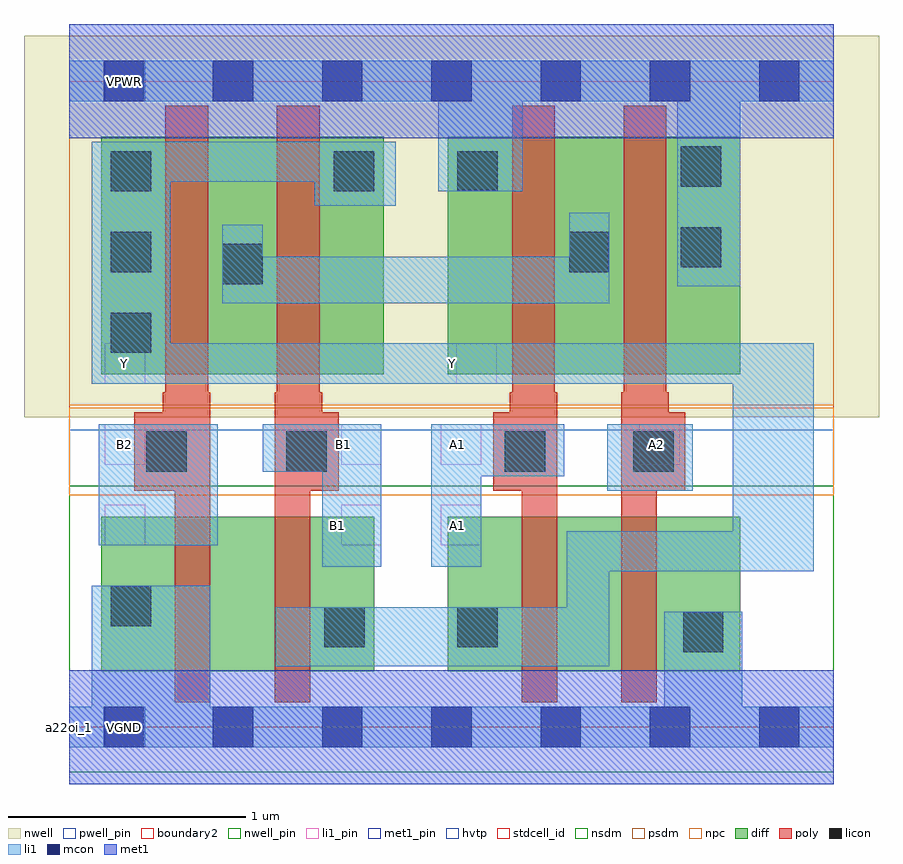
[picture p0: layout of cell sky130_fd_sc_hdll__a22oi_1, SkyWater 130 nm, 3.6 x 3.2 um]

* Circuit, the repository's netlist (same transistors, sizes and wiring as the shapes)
* Copyright 2020 The SkyWater PDK Authors
*
* Licensed under the Apache License, Version 2.0 (the "License");
* you may not use this file except in compliance with the License.
* You may obtain a copy of the License at
*
*     https://www.apache.org/licenses/LICENSE-2.0
*
* Unless required by applicable law or agreed to in writing, software
* distributed under the License is distributed on an "AS IS" BASIS,
* WITHOUT WARRANTIES OR CONDITIONS OF ANY KIND, either express or implied.
* See the License for the specific language governing permissions and
* limitations under the License.
*
* SPDX-License-Identifier: Apache-2.0

.SUBCKT sky130_fd_sc_hdll__a22oi_1 A1 A2 B1 B2 VGND VNB VPB VPWR Y
*.PININFO A1:I A2:I B1:I B2:I VGND:I VNB:I VPB:I VPWR:I Y:O
MMPA0 pndA A1 VPWR VPB sky130_fd_pr__pfet_01v8_hvt m=1 w=1.0U l=0.18U mult=1 sa=0.265
+ sb=0.265 sd=0.28 area=0.063 perim=1.14
MMPA1 pndA A2 VPWR VPB sky130_fd_pr__pfet_01v8_hvt m=1 w=1.0U l=0.18U mult=1 sa=0.265
+ sb=0.265 sd=0.28 area=0.063 perim=1.14
MMPB0 Y B1 pndA VPB sky130_fd_pr__pfet_01v8_hvt m=1 w=1.0U l=0.18U mult=1 sa=0.265
+ sb=0.265 sd=0.28 area=0.063 perim=1.14
MMPB1 Y B2 pndA VPB sky130_fd_pr__pfet_01v8_hvt m=1 w=1.0U l=0.18U mult=1 sa=0.265
+ sb=0.265 sd=0.28 area=0.063 perim=1.14
MMNA0 Y A1 sndA1 VNB sky130_fd_pr__nfet_01v8 m=1 w=0.65U l=0.15U mult=1 sa=0.265
+ sb=0.265 sd=0.28 area=0.063 perim=1.14
MMNA1 sndA1 A2 VGND VNB sky130_fd_pr__nfet_01v8 m=1 w=0.65U l=0.15U mult=1 sa=0.265
+ sb=0.265 sd=0.28 area=0.063 perim=1.14
MMNB0 Y B1 sndB1 VNB sky130_fd_pr__nfet_01v8 m=1 w=0.65U l=0.15U mult=1 sa=0.265
+ sb=0.265 sd=0.28 area=0.063 perim=1.14
MMNB1 sndB1 B2 VGND VNB sky130_fd_pr__nfet_01v8 m=1 w=0.65U l=0.15U mult=1 sa=0.265
+ sb=0.265 sd=0.28 area=0.063 perim=1.14
.ENDS sky130_fd_sc_hdll__a22oi_1

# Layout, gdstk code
import gdstk
lib = gdstk.Library(unit=1e-6, precision=1e-09)
def R(c, l, rs):  # rectangles x0, y0, x1, y1
    for r in rs: c.add(gdstk.rectangle(r[:2], r[2:], *l))
def A(c, l, x, y, w, h, nx, ny, dx, dy):  # array of equal rectangles
    R(c, l, [(x+i*dx, y+j*dy, x+i*dx+w, y+j*dy+h) for i in range(nx) for j in range(ny)])
def P(c, l, *ps):  # polygons
    for p in ps: c.add(gdstk.Polygon(p, *l))
nwell_pin = (64, 16)
nwell = (64, 20)
diff = (65, 20)
poly = (66, 20)
licon = (66, 44)
li1_pin = (67, 16)
li1 = (67, 20)
mcon = (67, 44)
met1_pin = (68, 16)
met1 = (68, 20)
hvtp = (78, 44)
stdcell_id = (81, 4)
nsdm = (93, 44)
psdm = (94, 20)
npc = (95, 20)
pwell_pin = (122, 16)
boundary2 = (236, 0)

sky130_fd_sc_hdll__a22oi = lib.new_cell('sky130_fd_sc_hdll__a22oi_1')
R(sky130_fd_sc_hdll__a22oi, nwell_pin, [(0.15,2.635,0.32,2.805)])
R(sky130_fd_sc_hdll__a22oi, nwell, [(-0.19,1.305,3.41,2.91)])
R(sky130_fd_sc_hdll__a22oi, diff, [(0.135,0.235,1.285,0.885), (1.595,0.235,2.825,0.885), (0.135,1.485,1.325,2.485), (1.595,1.485,2.825,2.485)])
P(sky130_fd_sc_hdll__a22oi, poly, [(0.595,1.41),(0.585,1.41),(0.585,2.615),(0.405,2.615),(0.405,1.41),(0.395,1.41),(0.395,1.325),(0.275,1.325),(0.275,0.995),(0.445,0.995),(0.445,0.105),(0.595,0.105)],
  [(1.135,1.325),(1.065,1.325),(1.065,1.41),(1.055,1.41),(1.055,2.615),(0.875,2.615),(0.875,1.41),(0.865,1.41),(0.865,0.105),(1.015,0.105),(1.015,0.995),(1.135,0.995)],
  [(2.055,1.41),(2.045,1.41),(2.045,2.615),(1.865,2.615),(1.865,1.41),(1.855,1.41),(1.855,1.325),(1.785,1.325),(1.785,0.995),(1.905,0.995),(1.905,0.105),(2.055,0.105)],
  [(2.595,1.325),(2.525,1.325),(2.525,1.41),(2.515,1.41),(2.515,2.615),(2.335,2.615),(2.335,1.41),(2.325,1.41),(2.325,0.105),(2.475,0.105),(2.475,0.995),(2.595,0.995)])
A(sky130_fd_sc_hdll__a22oi, licon, 0.175, 1.575, 0.17, 0.17, 1, 3, 0, 0.34)
R(sky130_fd_sc_hdll__a22oi, licon, [(2.585,0.315,2.755,0.485), (1.075,0.335,1.245,0.505), (1.635,0.335,1.805,0.505), (0.175,0.425,0.345,0.595), (0.325,1.075,0.495,1.245), (0.915,1.075,1.085,1.245), (1.835,1.075,2.005,1.245), (2.375,1.075,2.545,1.245), (0.645,1.865,0.815,2.035), (2.105,1.915,2.275,2.085), (2.575,1.935,2.745,2.105), (1.115,2.255,1.285,2.425), (1.635,2.255,1.805,2.425), (2.575,2.275,2.745,2.445)])
A(sky130_fd_sc_hdll__a22oi, li1_pin, 0.15, 0.765, 0.17, 0.17, 1, 3, 0, 0.34)
R(sky130_fd_sc_hdll__a22oi, li1_pin, [(1.145,0.765,1.315,0.935), (1.565,0.765,1.735,0.935), (1.145,1.105,1.315,1.275), (1.565,1.105,1.735,1.275), (2.4,1.105,2.57,1.275), (1.63,1.445,1.8,1.615)])
R(sky130_fd_sc_hdll__a22oi, li1, [(0.125,0.765,0.625,1.275), (2.265,0.995,2.625,1.275)])
P(sky130_fd_sc_hdll__a22oi, li1, [(2.085,1.275),(1.525,1.275),(1.525,0.675),(1.735,0.675),(1.735,1.055),(2.085,1.055)],
  [(1.315,1.275),(0.815,1.275),(0.815,1.075),(1.065,1.075),(1.065,0.675),(1.315,0.675)],
  [(3.135,1.615),(0.425,1.615),(0.425,2.295),(1.035,2.295),(1.035,2.195),(1.375,2.195),(1.375,2.465),(0.095,2.465),(0.095,1.445),(2.795,1.445),(2.795,0.825),(2.095,0.825),(2.095,0.505),(0.87,0.505),(0.87,0.255),(2.275,0.255),(2.275,0.655),(3.135,0.655)],
  [(2.275,2.165),(2.105,2.165),(2.105,1.98),(0.815,1.98),(0.815,2.115),(0.645,2.115),(0.645,1.785),(2.275,1.785)],
  [(3.22,2.805),(0,2.805),(0,2.635),(1.555,2.635),(1.555,2.255),(1.91,2.255),(1.91,2.635),(2.56,2.635),(2.56,1.855),(2.825,1.855),(2.825,2.635),(3.22,2.635)],
  [(3.22,0.085),(2.835,0.085),(2.835,0.485),(2.505,0.485),(2.505,0.085),(0.595,0.085),(0.595,0.595),(0.095,0.595),(0.095,0.085),(0,0.085),(0,-0.085),(3.22,-0.085)])
A(sky130_fd_sc_hdll__a22oi, mcon, 0.145, -0.085, 0.17, 0.17, 7, 2, 0.46, 2.72)
R(sky130_fd_sc_hdll__a22oi, met1_pin, [(0.15,-0.085,0.32,0.085), (0.15,2.635,0.32,2.805)])
R(sky130_fd_sc_hdll__a22oi, met1, [(0,-0.24,3.22,0.24), (0,2.48,3.22,2.96)])
R(sky130_fd_sc_hdll__a22oi, hvtp, [(0,1.25,3.22,2.72)])
R(sky130_fd_sc_hdll__a22oi, stdcell_id, [(0,0,3.22,2.72)])
R(sky130_fd_sc_hdll__a22oi, nsdm, [(0,-0.19,3.22,1.015)])
R(sky130_fd_sc_hdll__a22oi, psdm, [(0,1.355,3.22,2.91)])
R(sky130_fd_sc_hdll__a22oi, npc, [(0,0.975,3.22,1.345)])
R(sky130_fd_sc_hdll__a22oi, pwell_pin, [(0.15,-0.085,0.32,0.085)])
R(sky130_fd_sc_hdll__a22oi, boundary2, [(0,0,3.22,2.72)])
sky130_fd_sc_hdll__a22oi.add(gdstk.Label('B1', (1.13,0.85), layer=67, texttype=5))
sky130_fd_sc_hdll__a22oi.add(gdstk.Label('A1', (1.635,0.85), layer=67, texttype=5))
sky130_fd_sc_hdll__a22oi.add(gdstk.Label('B1', (1.155,1.19), layer=67, texttype=5))
sky130_fd_sc_hdll__a22oi.add(gdstk.Label('B2', (0.235,1.19), layer=67, texttype=5))
sky130_fd_sc_hdll__a22oi.add(gdstk.Label('A2', (2.475,1.19), layer=67, texttype=5))
sky130_fd_sc_hdll__a22oi.add(gdstk.Label('A1', (1.635,1.19), layer=67, texttype=5))
sky130_fd_sc_hdll__a22oi.add(gdstk.Label('Y', (1.615,1.53), layer=67, texttype=5))
sky130_fd_sc_hdll__a22oi.add(gdstk.Label('Y', (0.235,1.53), layer=67, texttype=5))
sky130_fd_sc_hdll__a22oi.add(gdstk.Label('VPWR', (0.235,2.72), layer=68, texttype=5))
sky130_fd_sc_hdll__a22oi.add(gdstk.Label('VGND', (0.235,0), layer=68, texttype=5))
sky130_fd_sc_hdll__a22oi.add(gdstk.Label('VPB', (0.235,2.72), layer=64, texttype=5))
sky130_fd_sc_hdll__a22oi.add(gdstk.Label('VNB', (0.235,0), layer=64, texttype=59))
sky130_fd_sc_hdll__a22oi.add(gdstk.Label('a22oi_1', (0,0), layer=83, texttype=44))

lib.write_gds('sky130_fd_sc_hdll__a22oi_1.gds')
